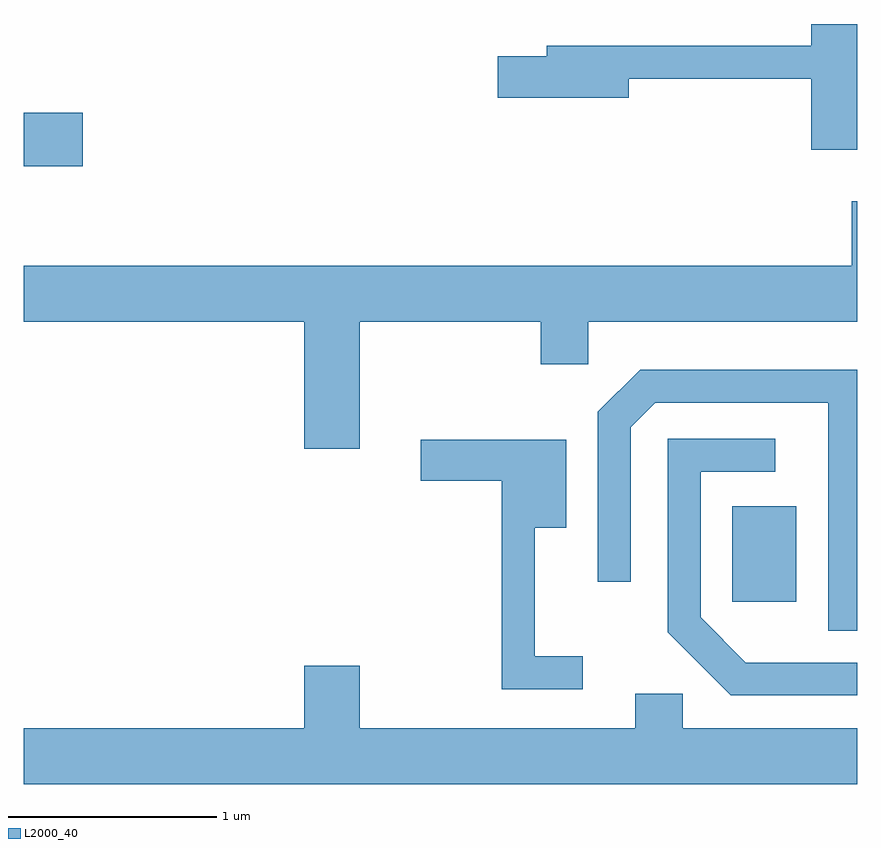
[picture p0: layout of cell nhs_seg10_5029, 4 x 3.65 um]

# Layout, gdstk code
import gdstk
lib = gdstk.Library(unit=1e-6, precision=1e-09)
def R(c, l, rs):  # rectangles x0, y0, x1, y1
    for r in rs: c.add(gdstk.rectangle(r[:2], r[2:], *l))
def P(c, l, *ps):  # polygons
    for p in ps: c.add(gdstk.Polygon(p, *l))
L2000_40 = (2000, 40)

nhs_seg10_5029 = lib.new_cell('nhs_seg10_5029')
R(nhs_seg10_5029, L2000_40, [(337.011,2121.451,337.319,2121.909), (333.611,2123.541,333.894,2123.799)])
P(nhs_seg10_5029, L2000_40, [(337.611,2124.224),(337.391,2124.224),(337.391,2124.119),(336.121,2124.119),(336.121,2124.069),(335.886,2124.069),(335.886,2123.871),(336.514,2123.871),(336.514,2123.961),(337.391,2123.961),(337.391,2123.621),(337.611,2123.621)],
  [(335.224,2122.796),(336.091,2122.796),(336.091,2122.591),(336.319,2122.591),(336.319,2122.796),(337.611,2122.796),(337.611,2123.374),(337.586,2123.374),(337.586,2123.064),(333.611,2123.064),(333.611,2122.796),(334.956,2122.796),(334.956,2122.186),(335.224,2122.186)],
  [(337.611,2122.564),(336.569,2122.564),(336.366,2122.362),(336.366,2121.548),(336.524,2121.548),(336.524,2122.289),(336.642,2122.406),(337.471,2122.406),(337.471,2121.311),(337.611,2121.311)],
  [(337.611,2121.159),(337.077,2121.159),(336.859,2121.377),(336.859,2122.076),(337.218,2122.076),(337.218,2122.234),(336.701,2122.234),(336.701,2121.304),(337.004,2121.001),(337.611,2121.001)],
  [(336.293,2121.189),(336.064,2121.189),(336.064,2121.806),(336.214,2121.806),(336.214,2122.229),(335.516,2122.229),(335.516,2122.031),(335.906,2122.031),(335.906,2121.031),(336.293,2121.031)],
  [(337.611,2120.844),(336.774,2120.844),(336.774,2121.009),(336.546,2121.009),(336.546,2120.844),(335.224,2120.844),(335.224,2121.144),(334.956,2121.144),(334.956,2120.844),(333.611,2120.844),(333.611,2120.576),(337.611,2120.576)])

lib.write_gds('nhs_seg10_5029.gds')
